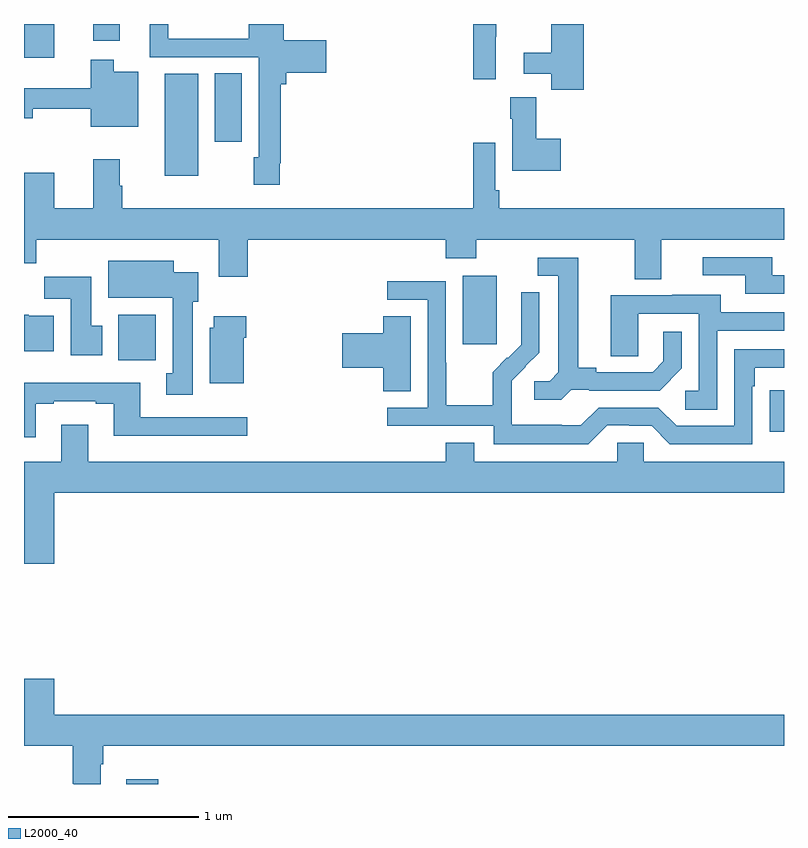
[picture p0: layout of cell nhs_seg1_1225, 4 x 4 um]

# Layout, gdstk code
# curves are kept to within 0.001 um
import gdstk
lib = gdstk.Library(unit=1e-6, precision=1e-09)
def R(c, l, rs):  # rectangles x0, y0, x1, y1
    for r in rs: c.add(gdstk.rectangle(r[:2], r[2:], *l))
def P(c, l, *ps):  # polygons
    for p in ps: c.add(gdstk.Polygon(p, *l))
L2000_40 = (2000, 40)

nhs_seg1_1225 = lib.new_cell('nhs_seg1_1225')
R(nhs_seg1_1225, L2000_40, [(177.539,550.199,177.707,550.225), (180.925,552.054,181,552.272), (177.497,552.428,177.694,552.67), (179.309,552.513,179.488,552.874), (177.74,553.4,177.916,553.936), (178.004,553.578,178.147,553.94), (177,554.022,177.16,554.199), (177.365,554.112,177.505,554.199)])
P(nhs_seg1_1225, L2000_40, [(178.345,553.465),(178.352,553.465),(178.352,553.883),(178.379,553.883),(178.379,553.943),(178.591,553.943),(178.591,554.113),(178.366,554.113),(178.366,554.199),(178.184,554.199),(178.184,554.121),(177.76,554.121),(177.76,554.199),(177.662,554.199),(177.662,554.025),(178.236,554.025),(178.236,553.497),(178.21,553.497),(178.21,553.353),(178.345,553.353)],
  [(179.945,554.199),(179.774,554.199),(179.774,554.047),(179.631,554.047),(179.631,553.938),(179.774,553.938),(179.774,553.854),(179.945,553.854)],
  [(179.482,554.131),(179.486,554.131),(179.486,554.199),(179.365,554.199),(179.365,553.908),(179.482,553.908)],
  [(177.601,553.948),(177.472,553.948),(177.472,554.011),(177.35,554.011),(177.35,553.861),(177,553.861),(177,553.702),(177.046,553.702),(177.046,553.752),(177.35,553.752),(177.35,553.658),(177.601,553.658)],
  [(179.824,553.594),(179.696,553.594),(179.696,553.813),(179.558,553.813),(179.558,553.7),(179.57,553.7),(179.57,553.427),(179.824,553.427)],
  [(180.355,553.064),(181,553.064),(181,553.228),(179.501,553.228),(179.501,553.324),(179.481,553.324),(179.481,553.573),(179.365,553.573),(179.365,553.228),(177.518,553.228),(177.518,553.349),(177.505,553.349),(177.505,553.486),(177.365,553.486),(177.365,553.228),(177.16,553.228),(177.16,553.417),(177,553.417),(177,552.94),(177.065,552.94),(177.065,553.064),(178.025,553.064),(178.025,552.87),(178.178,552.87),(178.178,553.064),(179.219,553.064),(179.219,552.965),(179.379,552.965),(179.379,553.064),(180.215,553.064),(180.215,552.856),(180.355,552.856)],
  [(181,552.876),(180.937,552.876),(180.937,552.972),(180.573,552.972),(180.573,552.876),(180.797,552.876),(180.797,552.78),(181,552.78)],
  [(179.88,552.273),(179.974,552.273),(179.974,552.27),(180.346,552.27),(180.462,552.386),(180.462,552.58),(180.365,552.58),(180.365,552.423),(180.308,552.366),(180.013,552.366),(180.013,552.389),(179.917,552.389),(179.917,552.969),(179.703,552.969),(179.703,552.873),(179.813,552.873),(179.813,552.365),(179.766,552.318),(179.685,552.318),(179.685,552.221),(179.828,552.221)],
  [(177.889,552.738),(177.916,552.738),(177.916,552.892),(177.787,552.892),(177.787,552.952),(177.443,552.952),(177.443,552.758),(177.782,552.758),(177.782,552.362),(177.749,552.362),(177.749,552.249),(177.889,552.249)],
  [(177.412,552.612),(177.355,552.612),(177.355,552.87),(177.106,552.87),(177.106,552.752),(177.245,552.752),(177.245,552.456),(177.412,552.456)],
  [(180.069,552.087),(180.185,552.087),(180.185,552.084),(180.303,552.084),(180.399,551.988),(180.834,551.988),(180.834,552.293),(180.847,552.293),(180.847,552.39),(181,552.39),(181,552.486),(180.738,552.486),(180.738,552.084),(180.435,552.084),(180.339,552.18),(180.024,552.18),(179.931,552.087),(179.831,552.087),(179.831,552.091),(179.568,552.091),(179.568,552.225),(179.566,552.225),(179.566,552.322),(179.712,552.47),(179.712,552.788),(179.616,552.788),(179.616,552.634),(179.618,552.634),(179.618,552.512),(179.547,552.441),(179.544,552.444),(179.467,552.367),(179.467,552.193),(179.223,552.193),(179.223,552.416),(179.22,552.416),(179.22,552.846),(178.911,552.846),(178.911,552.747),(179.124,552.747),(179.124,552.18),(178.911,552.18),(178.911,552.084),(179.472,552.084),(179.472,551.987),(179.969,551.987)],
  [(180.648,552.585),(181,552.585),(181,552.681),(180.667,552.681),(180.667,552.775),(180.413,552.775),(180.413,552.771),(180.089,552.771),(180.089,552.451),(180.234,552.451),(180.234,552.675),(180.552,552.675),(180.552,552.27),(180.48,552.27),(180.48,552.169),(180.648,552.169)],
  [(177.157,552.664),(177.024,552.664),(177.024,552.67),(177,552.67),(177,552.476),(177.157,552.476)],
  [(179.035,552.662),(178.892,552.662),(178.892,552.572),(178.674,552.572),(178.674,552.389),(178.892,552.389),(178.892,552.265),(179.035,552.265)],
  [(178.156,552.548),(178.169,552.548),(178.169,552.661),(177.998,552.661),(177.998,552.6),(177.977,552.6),(177.977,552.308),(178.156,552.308)],
  [(177.061,552.201),(177.157,552.201),(177.157,552.213),(177.377,552.213),(177.377,552.201),(177.473,552.201),(177.473,552.032),(178.174,552.032),(178.174,552.129),(177.613,552.129),(177.613,552.31),(177,552.31),(177,552.024),(177.061,552.024)],
  [(177.16,551.732),(181,551.732),(181,551.896),(180.261,551.896),(180.261,551.994),(180.123,551.994),(180.123,551.896),(179.371,551.896),(179.371,551.995),(179.219,551.995),(179.219,551.896),(177.337,551.896),(177.337,552.091),(177.197,552.091),(177.197,551.896),(177,551.896),(177,551.358),(177.16,551.358)],
  [(177.403,550.304),(177.416,550.304),(177.416,550.4),(181,550.4),(181,550.564),(177.16,550.564),(177.16,550.753),(177,550.753),(177,550.4),(177.256,550.4),(177.256,550.201),(177.263,550.201),(177.263,550.199),(177.403,550.199)])

lib.write_gds('nhs_seg1_1225.gds')
